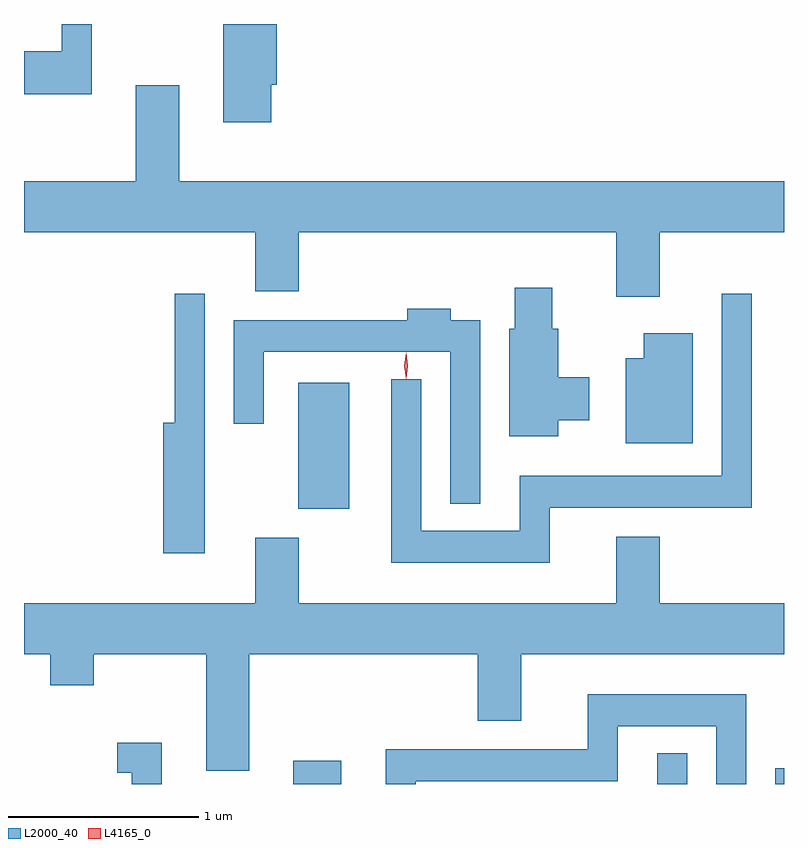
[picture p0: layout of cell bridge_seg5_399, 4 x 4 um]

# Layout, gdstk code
import gdstk
lib = gdstk.Library(unit=1e-6, precision=1e-09)
def R(c, l, rs):  # rectangles x0, y0, x1, y1
    for r in rs: c.add(gdstk.rectangle(r[:2], r[2:], *l))
def P(c, l, *ps):  # polygons
    for p in ps: c.add(gdstk.Polygon(p, *l))
L2000_40 = (2000, 40)
L4165_0 = (4165, 0)

bridge_seg5_399 = lib.new_cell('bridge_seg5_399')
R(bridge_seg5_399, L2000_40, [(582.281,1522.712,582.534,1522.834), (584.196,1522.712,584.354,1522.873), (584.816,1522.712,584.863,1522.794), (582.306,1524.161,582.574,1524.824)])
P(bridge_seg5_399, L2000_40, [(582.164,1526.391),(582.194,1526.391),(582.194,1526.712),(581.911,1526.712),(581.911,1526.196),(582.164,1526.196)],
  [(581.219,1526.712),(581.061,1526.712),(581.061,1526.569),(580.863,1526.569),(580.863,1526.341),(581.219,1526.341)],
  [(584.209,1525.616),(584.863,1525.616),(584.863,1525.884),(581.679,1525.884),(581.679,1526.389),(581.451,1526.389),(581.451,1525.884),(580.863,1525.884),(580.863,1525.616),(582.081,1525.616),(582.081,1525.306),(582.309,1525.306),(582.309,1525.616),(583.981,1525.616),(583.981,1525.276),(584.209,1525.276)],
  [(583.674,1524.626),(583.839,1524.626),(583.839,1524.854),(583.674,1524.854),(583.674,1525.109),(583.644,1525.109),(583.644,1525.324),(583.446,1525.324),(583.446,1525.109),(583.416,1525.109),(583.416,1524.541),(583.674,1524.541)],
  [(583.629,1524.166),(584.694,1524.166),(584.694,1525.293),(584.536,1525.293),(584.536,1524.334),(583.471,1524.334),(583.471,1524.044),(582.954,1524.044),(582.954,1524.843),(582.796,1524.843),(582.796,1523.876),(583.629,1523.876)],
  [(581.814,1525.293),(581.656,1525.293),(581.656,1524.614),(581.596,1524.614),(581.596,1523.926),(581.814,1523.926)],
  [(583.264,1525.154),(583.109,1525.154),(583.109,1525.214),(582.881,1525.214),(582.881,1525.154),(581.966,1525.154),(581.966,1524.608),(582.124,1524.608),(582.124,1524.986),(583.106,1524.986),(583.106,1524.188),(583.264,1524.188)],
  [(584.384,1525.084),(584.126,1525.084),(584.126,1524.954),(584.031,1524.954),(584.031,1524.506),(584.384,1524.506)],
  [(582.049,1523.396),(583.251,1523.396),(583.251,1523.046),(583.479,1523.046),(583.479,1523.396),(584.863,1523.396),(584.863,1523.664),(584.209,1523.664),(584.209,1524.014),(583.981,1524.014),(583.981,1523.664),(582.309,1523.664),(582.309,1524.009),(582.081,1524.009),(582.081,1523.664),(580.863,1523.664),(580.863,1523.396),(581.001,1523.396),(581.001,1523.231),(581.229,1523.231),(581.229,1523.396),(581.821,1523.396),(581.821,1522.781),(582.049,1522.781)],
  [(582.924,1522.726),(583.989,1522.726),(583.989,1523.016),(584.506,1523.016),(584.506,1522.712),(584.664,1522.712),(584.664,1523.184),(583.831,1523.184),(583.831,1522.894),(582.766,1522.894),(582.766,1522.712),(582.924,1522.712)],
  [(581.589,1522.929),(581.353,1522.929),(581.353,1522.771),(581.431,1522.771),(581.431,1522.712),(581.589,1522.712)])
P(bridge_seg5_399, L4165_0, [(582.874,1524.847),(582.874,1524.848),(582.864,1524.914),(582.874,1524.98),(582.874,1524.98),(582.875,1524.98),(582.884,1524.914),(582.875,1524.848)],
  [(582.874,1524.844),(582.874,1524.844),(582.864,1524.914),(582.874,1524.982),(582.874,1524.983),(582.874,1524.982),(582.884,1524.914),(582.874,1524.844)])

lib.write_gds('bridge_seg5_399.gds')
